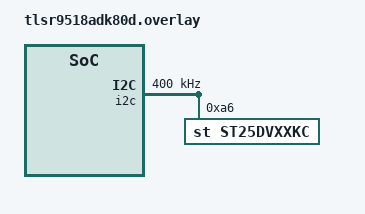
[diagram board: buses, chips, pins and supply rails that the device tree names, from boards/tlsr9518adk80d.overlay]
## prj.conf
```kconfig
#
# Copyright (c) 2023 Sendrato
#
# SPDX-License-Identifier: Apache-2.0
#

CONFIG_STDOUT_CONSOLE=y
CONFIG_LOG=y
CONFIG_REBOOT=y

CONFIG_NFC=y
CONFIG_NFC_NDEF=y
CONFIG_NFC_NDEF_MSG=y
CONFIG_NFC_NDEF_RECORD=y
CONFIG_NFC_NDEF_TEXT_RECORD=y
CONFIG_NFC_NDEF_URI_REC=y
CONFIG_NFC_NDEF_URI_MSG=y

CONFIG_NFC_T2T_PARSER=y
CONFIG_NFC_T2T_PARSER_LOG_LEVEL_DBG=y
```

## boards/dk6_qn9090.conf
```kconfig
#
# Copyright (c) 2023 Sendrato
#
# SPDX-License-Identifier: Apache-2.0
#

# NFC driver selection for qn9090 DK6 development board
CONFIG_NT3H2X11=y
CONFIG_NT3H2X11_2K=y
CONFIG_NT3H2X11_LOG_LEVEL_INF=y
```

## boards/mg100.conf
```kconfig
#
# Copyright (c) 2023 Sendrato
#
# SPDX-License-Identifier: Apache-2.0
#

# NFC driver selection for nRF devices (mg100 in this case)
CONFIG_NRFXNFC=y
CONFIG_NRFXNFC_T2T=y
```

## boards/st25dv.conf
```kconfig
#
# Copyright (c) 2023 Telink Semiconductor
#
# SPDX-License-Identifier: Apache-2.0
#

# NFC driver selection for qn9090 DK6 development board

CONFIG_I2C=y
CONFIG_ST25DVXXKC=y
CONFIG_ST25DVXXKC_LOG_LEVEL_INF=y
```

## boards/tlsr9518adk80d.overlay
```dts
/*
 * Copyright (c) 2023 Telink Semiconductor
 *
 * SPDX-License-Identifier: Apache-2.0
 */

/ {
	aliases {
		i2c = &i2c;
	};
};

&i2c {
	status = "okay";
	clock-frequency = <I2C_BITRATE_FAST>;
	pinctrl-0 = <&i2c_scl_pe1_default &i2c_sda_pe3_default>;
	pinctrl-names = "default";

	st25dvxxkc: st25dvxxkc@a6 {
		compatible = "st,st25dvxxkc";
		reg = <0xa6>, <0xae>;
	};
};
```

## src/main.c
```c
/*
 * Copyright (c) 2023 Sendrato
 *
 * SPDX-License-Identifier: Apache-2.0
 */

#include <zephyr/kernel.h>
#include <zephyr/sys/reboot.h>

#include <zephyr/nfc/nfc_tag.h>
#include <zephyr/nfc/ndef/msg.h>
#include <zephyr/nfc/ndef/text_rec.h>

#if defined(CONFIG_NRFXNFC)
  #define DEV_PTR device_get_binding(CONFIG_NRFXNFC_DRV_NAME)
#elif defined(CONFIG_NT3H2X11)
  #define NFC_DEV nt3h2x11
  #define DEV_PTR DEVICE_DT_GET(DT_NODELABEL(NFC_DEV))
#elif defined(CONFIG_ST25DVXXKC)
  #define NFC_DEV st25dvxxkc
  #define DEV_PTR DEVICE_DT_GET(DT_NODELABEL(NFC_DEV))
#endif

#define MAX_REC_COUNT        3
#define NDEF_MSG_BUF_SIZE    128

/* Text message in English with its language code. */
static const uint8_t en_payload[] = {
        'H', 'e', 'l', 'l', 'o', ' ', 'W', 'o', 'r', 'l', 'd', '!'
};
static const uint8_t en_code[] = {'e', 'n'};

/* Text message in Norwegian with its language code. */
static const uint8_t no_payload[] = {
        'H', 'a', 'l', 'l', 'o', ' ', 'V', 'e', 'r', 'd', 'e', 'n', '!'
};
static const uint8_t no_code[] = {'N', 'O'};

/* Text message in Polish with its language code. */
static const uint8_t pl_payload[] = {
        'V', 'i', 't', 'a', 'j', ' ', 0xc5u, 0x9au, 'w', 'i', 'e', 'c', 'i',
        'e', '!'
};
static const uint8_t pl_code[] = {'P', 'L'};

/* Buffer used to hold an NFC NDEF message. */
static uint8_t ndef_msg_buf[NDEF_MSG_BUF_SIZE];


static void nfc_callback(const struct device *dev,
                         enum nfc_tag_event event,
                         const uint8_t *data,
                         size_t data_len)
{
    ARG_UNUSED(dev);
    ARG_UNUSED(data);
    ARG_UNUSED(data_len);

    printk("NFC-CALLBACK EVENT: %d\n", event);
}


/**
 * @brief Function for encoding the NDEF text message.
 */
static int welcome_msg_encode(uint8_t *buffer, uint32_t *len)
{
    int err;

    /* Create NFC NDEF text record description in English */
    NFC_NDEF_TEXT_RECORD_DESC_DEF(nfc_en_text_rec,
                                  UTF_8,
                                  en_code,
                                  sizeof(en_code),
                                  en_payload,
                                  sizeof(en_payload));

    /* Create NFC NDEF text record description in Norwegian */
    NFC_NDEF_TEXT_RECORD_DESC_DEF(nfc_no_text_rec,
                                  UTF_8,
                                  no_code,
                                  sizeof(no_code),
                                  no_payload,
                                  sizeof(no_payload));

    /* Create NFC NDEF text record description in Polish */
    NFC_NDEF_TEXT_RECORD_DESC_DEF(nfc_pl_text_rec,
                                  UTF_8,
                                  pl_code,
                                  sizeof(pl_code),
                                  pl_payload,
                                  sizeof(pl_payload));

    /* Create NFC NDEF message description, capacity - MAX_REC_COUNT
     * records
     */
    NFC_NDEF_MSG_DEF(nfc_text_msg, MAX_REC_COUNT);

    /* Add text records to NDEF text message */
    err = nfc_ndef_msg_record_add(&NFC_NDEF_MSG(nfc_text_msg),
                                  &NFC_NDEF_TEXT_RECORD_DESC(nfc_en_text_rec));
    if (err < 0) {
        printk("Cannot add first record!\n");
        return err;
    }
    err = nfc_ndef_msg_record_add(&NFC_NDEF_MSG(nfc_text_msg),
                                  &NFC_NDEF_TEXT_RECORD_DESC(nfc_no_text_rec));
    if (err < 0) {
        printk("Cannot add second record!\n");
        return err;
    }
    err = nfc_ndef_msg_record_add(&NFC_NDEF_MSG(nfc_text_msg),
                                  &NFC_NDEF_TEXT_RECORD_DESC(nfc_pl_text_rec));
    if (err < 0) {
        printk("Cannot add third record!\n");
        return err;
    }

    err = nfc_ndef_msg_encode(&NFC_NDEF_MSG(nfc_text_msg),
                              buffer,
                              len);
    if (err < 0) {
        printk("Cannot encode message!\n");
    }

    return err;
}

int main(void)
{
    int rv;
    uint32_t len = sizeof(ndef_msg_buf);

    printk("Starting NFC Text Record example\n");

    const struct device *dev = DEV_PTR;
    if (dev == NULL) {
        printk("Could not get %s device\n", STRINGIFY(NFC_DEV));
        return -ENODEV;
    } else {
        printk("Device = ok: %s\n", STRINGIFY(NFC_DEV));
    }

    /* Set up NFC driver*/
    rv = nfc_tag_init(dev, nfc_callback);
    if (rv != 0) {
        printk("Cannot setup NFC subsys!\n");
    }

    /* Set up Tag mode */
    if (rv == 0) {
        rv = nfc_tag_set_type(dev, NFC_TAG_TYPE_T5T);
        if (rv != 0) {
            printk("Cannot setup NFC Tag mode! (%d)\n", rv);
        }
    }

    /* Encode welcome message */
    if (rv == 0) {
        rv = welcome_msg_encode(ndef_msg_buf, &len);
        if (rv != 0) {
            printk("Cannot encode message! (%d)\n", rv);
        }
    }

    /* Set created message as the NFC payload */
    if (rv == 0) {
        rv = nfc_tag_set_ndef(dev, ndef_msg_buf, len);
        if (rv != 0) {
            printk("Cannot set payload! (%d)\n", rv);
        }
    }

    /* Start sensing NFC field */
    if (rv == 0) {
        rv = nfc_tag_start(dev);
        if (rv != 0) {
            printk("Cannot start emulation! (%d)\n", rv);
        }
    }

    printk("NFC configuration done (%d)\n", rv);

    if (rv != 0) {
#if CONFIG_REBOOT
        //sys_reboot(SYS_REBOOT_COLD);
#endif /* CONFIG_REBOOT */
        return -EIO;
    } else {
        return 0;
    }
}
```
